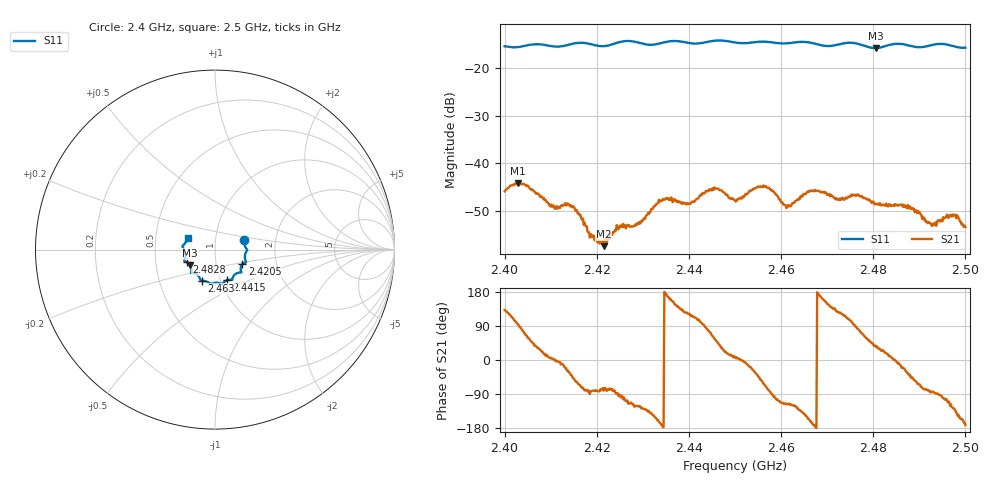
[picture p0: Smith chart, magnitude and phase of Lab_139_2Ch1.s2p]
# Hz S RI R 50
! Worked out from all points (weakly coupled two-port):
!   601 points, 2.4 GHz to 2.5 GHz, reference 50 ohm
!   highest |S21| = -44.10 dB at 2.4028 GHz (marker M1); lowest = -57.4 dB at 2.4215 GHz (marker M2)
!   lowest |S11| = -15.7 dB at 2.4805 GHz (marker M3), VSWR 1.39, Z = 37.3 - j6.7 ohm
!   |S11| at or under -10 dB: start of sweep to end of sweep
!   S12 and S22 are empty: the file has one direction only
!   S11 on the Smith chart (normalised r, x): 2.4 GHz: 1.38, +0.15; 2.4205 GHz: 1.34, -0.23; 2.4415 GHz: 1.07, -0.38; 2.463 GHz: 0.82, -0.29; 2.4828 GHz: 0.72, -0.10; 2.5 GHz: 0.73, +0.10
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2.4e9  0.1635 0.0518  -0.00338 0.00379  0 0  0 0
2.402833e9  0.1667 0.0204  -0.00061 0.00621  0 0  0 0
2.414333e9  0.1697 -0.0603  0.0028 -0.00229  0 0  0 0
2.416667e9  0.173 -0.0699  0.000864 -0.00245  0 0  0 0
2.4205e9  0.1521 -0.0819  0.000206 -0.00144  0 0  0 0
2.4215e9  0.1461 -0.0901  0.000215 -0.00133  0 0  0 0
2.4295e9  0.1333 -0.1282  -0.00131 -0.00205  0 0  0 0
2.433333e9  0.1004 -0.1516  -0.00365 -0.00138  0 0  0 0
2.4415e9  0.0656 -0.1706  -0.00151 0.00387  0 0  0 0
2.446e9  0.0413 -0.1925  0.0035 0.00416  0 0  0 0
2.45e9  0.0241 -0.1864  0.00404 0.000485  0 0  0 0
2.456167e9  -0.0221 -0.1904  0.00267 -0.00521  0 0  0 0
2.460833e9  -0.0547 -0.1754  -0.00156 -0.00333  0 0  0 0
2.463e9  -0.0721 -0.1737  -0.0021 -0.00339  0 0  0 0
2.466667e9  -0.0821 -0.167  -0.00498 -0.00122  0 0  0 0
2.4805e9  -0.1387 -0.0873  0.00303 0.0022  0 0  0 0
2.482833e9  -0.1585 -0.07  0.00361 0.00113  0 0  0 0
2.483333e9  -0.1625 -0.0682  0.00352 0.000681  0 0  0 0
2.488333e9  -0.1662 -0.0431  0.00238 -0.00238  0 0  0 0
2.492833e9  -0.1768 0.00849  0.000242 -0.00218  0 0  0 0
2.497667e9  -0.1664 0.0356  -0.00187 -0.00219  0 0  0 0
2.5e9  -0.1527 0.0646  -0.00212 -0.000309  0 0  0 0
